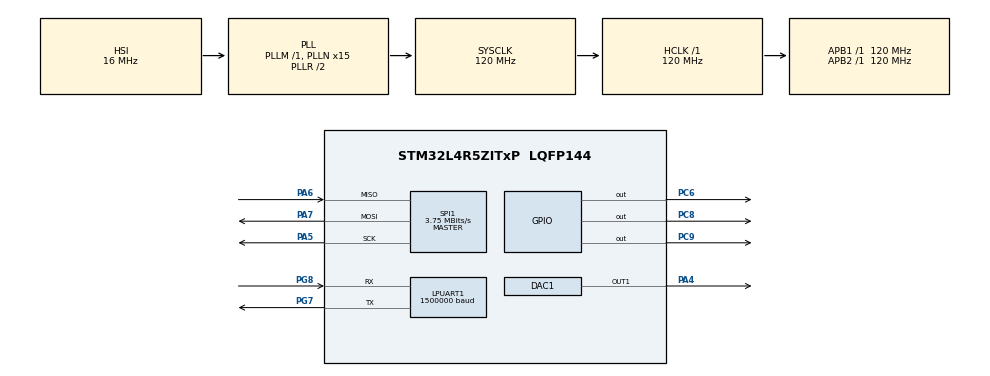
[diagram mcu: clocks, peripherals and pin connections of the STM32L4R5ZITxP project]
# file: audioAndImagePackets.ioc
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DAC1.DAC_Trigger-DAC_OUT1=DAC_TRIGGER_T2_TRGO
Dma.DAC1_CH1.0.Direction=DMA_MEMORY_TO_PERIPH
Dma.DAC1_CH1.0.EventEnable=DISABLE
Dma.DAC1_CH1.0.Instance=DMA1_Channel1
Dma.DAC1_CH1.0.MemDataAlignment=DMA_MDATAALIGN_HALFWORD
Dma.DAC1_CH1.0.MemInc=DMA_MINC_ENABLE
Dma.DAC1_CH1.0.Mode=DMA_CIRCULAR
Dma.DAC1_CH1.0.PeriphDataAlignment=DMA_PDATAALIGN_HALFWORD
Dma.DAC1_CH1.0.PeriphInc=DMA_PINC_DISABLE
Dma.DAC1_CH1.0.Polarity=HAL_DMAMUX_REQUEST_GEN_RISING
Dma.DAC1_CH1.0.Priority=DMA_PRIORITY_LOW
Dma.DAC1_CH1.0.RequestNumber=1
Dma.DAC1_CH1.0.SignalID=NONE
Dma.DAC1_CH1.0.SyncEnable=DISABLE
Dma.DAC1_CH1.0.SyncPolarity=HAL_DMAMUX_SYNC_NO_EVENT
Dma.DAC1_CH1.0.SyncRequestNumber=1
Dma.DAC1_CH1.0.SyncSignalID=NONE
Dma.LPUART1_RX.1.Direction=DMA_PERIPH_TO_MEMORY
Dma.LPUART1_RX.1.EventEnable=DISABLE
Dma.LPUART1_RX.1.Instance=DMA1_Channel2
Dma.LPUART1_RX.1.MemDataAlignment=DMA_MDATAALIGN_BYTE
Dma.LPUART1_RX.1.MemInc=DMA_MINC_ENABLE
Dma.LPUART1_RX.1.Mode=DMA_NORMAL
Dma.LPUART1_RX.1.PeriphDataAlignment=DMA_PDATAALIGN_BYTE
Dma.LPUART1_RX.1.PeriphInc=DMA_PINC_DISABLE
Dma.LPUART1_RX.1.Polarity=HAL_DMAMUX_REQUEST_GEN_RISING
Dma.LPUART1_RX.1.Priority=DMA_PRIORITY_LOW
Dma.LPUART1_RX.1.RequestNumber=1
Dma.LPUART1_RX.1.SignalID=NONE
Dma.LPUART1_RX.1.SyncEnable=DISABLE
Dma.LPUART1_RX.1.SyncPolarity=HAL_DMAMUX_SYNC_NO_EVENT
Dma.LPUART1_RX.1.SyncRequestNumber=1
Dma.LPUART1_RX.1.SyncSignalID=NONE
Dma.Request0=DAC1_CH1
Dma.Request1=LPUART1_RX
LPUART1.BaudRate=1500000
LPUART1.WordLength=UART_WORDLENGTH_8B
Mcu.Family=STM32L4
Mcu.Name=STM32L4R5ZITxP
Mcu.Package=LQFP144
NVIC.DMA1_Channel1_IRQn=true\:0\:0\:false\:false\:true\:false\:true\:true
NVIC.DMA1_Channel2_IRQn=true\:0\:0\:false\:false\:true\:false\:true\:true
NVIC.LPUART1_IRQn=true\:0\:0\:false\:false\:true\:true\:true\:true
NVIC.PriorityGroup=NVIC_PRIORITYGROUP_4
PA0.Signal=S_TIM2_CH1
PA1.Signal=ADCx_IN6
PA10.Signal=USB_OTG_FS_ID
PA13\ (JTMS/SWDIO).Signal=SYS_JTMS-SWDIO
PA14\ (JTCK/SWCLK).Signal=SYS_JTCK-SWCLK
PA3.Signal=ADCx_IN8
PA4.Signal=COMP_DAC11_group
PA5.Mode=Full_Duplex_Master
PA5.Signal=SPI1_SCK
PA6.Mode=Full_Duplex_Master
PA6.Signal=SPI1_MISO
PA7.Mode=Full_Duplex_Master
PA7.Signal=SPI1_MOSI
PA8.Signal=USB_OTG_FS_SOF
PA9.Signal=USB_OTG_FS_VBUS
PB0.Signal=S_TIM3_CH3
PB1.Signal=ADCx_IN16
PB10.Signal=S_TIM2_CH3
PB12.Signal=SAI2_FS_A
PB13.Signal=SAI2_SCK_A
PB14.Signal=S_TIM15_CH1
PB15.Signal=SAI2_SD_A
PB2.Signal=COMP1_INP
PB3\ (JTDO/TRACESWO).Signal=SPI3_SCK
PB4\ (NJTRST).Signal=SPI3_MISO
PB5.Signal=SPI3_MOSI
PB6.Signal=COMP2_INP
PB8.Signal=I2C1_SCL
PB9.Signal=I2C1_SDA
PC0.Signal=ADCx_IN1
PC1.Signal=ADCx_IN2
PC10.Signal=SDMMC1_D2
PC11.Signal=SDMMC1_D3
PC12.Signal=SDMMC1_CK
PC13.Signal=SYS_WKUP2
PC14-OSC32_IN\ (PC14).Signal=RCC_OSC32_IN
PC15-OSC32_OUT\ (PC15).Signal=RCC_OSC32_OUT
PC2.Signal=ADCx_IN3
PC3.Signal=ADCx_IN4
PC4.Signal=ADCx_IN13
PC5.Signal=ADCx_IN14
PC6.Signal=GPIO_Output
PC7.Signal=S_TIM3_CH2
PC8.Signal=GPIO_Output
PC9.Signal=GPIO_Output
PD0.Signal=CAN1_RX
PD14.Signal=S_TIM4_CH3
PD15.Signal=S_TIM4_CH4
PD2.Signal=SDMMC1_CMD
PD3.Signal=USART2_CTS
PD5.Signal=USART2_TX
PD6.Signal=USART2_RX
PD8.Signal=USART3_TX
PD9.Signal=USART3_RX
PE0.Signal=S_TIM4_ETR
PE10.Signal=TIM1_CH2N
PE11.Signal=S_TIM1_CH2
PE12.Signal=TIM1_CH3N
PE13.Signal=S_TIM1_CH3
PE14.Signal=TIM1_BKIN2
PE15.Signal=TIM1_BKIN
PE2.Signal=SAI1_MCLK_A
PE3.Signal=SAI1_SD_B
PE7.Signal=S_TIM1_ETR
PE8.Signal=TIM1_CH1N
PE9.Signal=S_TIM1_CH1
PF0.Signal=I2C2_SDA
PF1.Signal=I2C2_SCL
PF2.Signal=I2C2_SMBA
PF7.Signal=SAI1_MCLK_B
PG7.Mode=Asynchronous
PG7.Signal=LPUART1_TX
PG8.Mode=Asynchronous
PG8.Signal=LPUART1_RX
PH0-OSC_IN\ (PH0).Signal=RCC_OSC_IN
PH1-OSC_OUT\ (PH1).Signal=RCC_OSC_OUT
ProjectManager.HeapSize=0x200
ProjectManager.StackSize=0x400
ProjectManager.TargetToolchain=STM32CubeIDE
RCC.ADCFreq_Value=64000000
RCC.AHBFreq_Value=120000000
RCC.APB1Freq_Value=120000000
RCC.APB1TimFreq_Value=120000000
RCC.APB2Freq_Value=120000000
RCC.APB2TimFreq_Value=120000000
RCC.CortexFreq_Value=120000000
RCC.HCLKFreq_Value=120000000
RCC.HSE_VALUE=8000000
RCC.HSI48_VALUE=48000000
RCC.HSI_VALUE=16000000
RCC.LPUART1CLockSelection=RCC_LPUART1CLKSOURCE_HSI
RCC.LSE_VALUE=32768
RCC.MSI_VALUE=4000000
RCC.PLLN=15
RCC.PLLSourceVirtual=RCC_PLLSOURCE_HSI
RCC.SYSCLKFreq_VALUE=120000000
RCC.SYSCLKSource=RCC_SYSCLKSOURCE_PLLCLK
RCC.USBFreq_Value=64000000
RCC.VCOOutputFreq_Value=240000000
SH.ADCx_IN1.0=ADC1_IN1
SH.ADCx_IN13.0=ADC1_IN13
SH.ADCx_IN14.0=ADC1_IN14
SH.ADCx_IN16.0=ADC1_IN16
SH.ADCx_IN2.0=ADC1_IN2
SH.ADCx_IN3.0=ADC1_IN3
SH.ADCx_IN4.0=ADC1_IN4
SH.ADCx_IN6.0=ADC1_IN6
SH.ADCx_IN8.0=ADC1_IN8
SH.COMP_DAC11_group.0=DAC1_OUT1,DAC_OUT1
SH.S_TIM15_CH1.0=TIM15_CH1
SH.S_TIM1_CH1.0=TIM1_CH1
SH.S_TIM1_CH2.0=TIM1_CH2
SH.S_TIM1_CH3.0=TIM1_CH3
SH.S_TIM1_ETR.0=TIM1_ETR
SH.S_TIM2_CH1.0=TIM2_CH1
SH.S_TIM2_CH3.0=TIM2_CH3
SH.S_TIM3_CH2.0=TIM3_CH2
SH.S_TIM3_CH3.0=TIM3_CH3
SH.S_TIM4_CH3.0=TIM4_CH3
SH.S_TIM4_CH4.0=TIM4_CH4
SH.S_TIM4_ETR.0=TIM4_ETR
SPI1.BaudRatePrescaler=SPI_BAUDRATEPRESCALER_32
SPI1.CalculateBaudRate=3.75 MBits/s
SPI1.DataSize=SPI_DATASIZE_8BIT
SPI1.Direction=SPI_DIRECTION_2LINES
SPI1.Mode=SPI_MODE_MASTER
SPI1.VirtualType=VM_MASTER
TIM1.AutoReloadPreload=TIM_AUTORELOAD_PRELOAD_ENABLE
TIM1.Period=49
TIM1.Prescaler=119
TIM2.Period=3749
TIM2.TIM_MasterOutputTrigger=TIM_TRGO_UPDATE
VP_TIM1_VS_ClockSourceINT.Mode=Internal
VP_TIM2_VS_ClockSourceINT.Mode=Internal
board=NUCLEO-L4R5ZI-P

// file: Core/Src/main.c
/* USER CODE BEGIN Header */
/**
  ******************************************************************************
  * @file           : main.c
  * @brief          : Main program body
  ******************************************************************************
  * @attention
  *
  * Copyright (c) 2025 STMicroelectronics.
  * All rights reserved.
  *
  * This software is licensed under terms that can be found in the LICENSE file
  * in the root directory of this software component.
  * If no LICENSE file comes with this software, it is provided AS-IS.
  *
  ******************************************************************************
  */
/* USER CODE END Header */
#include "main.h"

/* USER CODE BEGIN Includes */
#include "packets.h"
#include "tft.h"
#include <string.h>

/* USER CODE END Includes */

DAC_HandleTypeDef hdac1;
DMA_HandleTypeDef hdma_dac1_ch1;

UART_HandleTypeDef hlpuart1;
DMA_HandleTypeDef hdma_lpuart1_rx;

SPI_HandleTypeDef hspi1;

TIM_HandleTypeDef htim1;
TIM_HandleTypeDef htim2;

/* USER CODE BEGIN PV */

		#define PKT_SYNC_SIZE    2   // 0xA5, 0x5A
		#define PKT_HEADER_SIZE  (sizeof(pkt_header_t))  // 7 bytes (packed)
		#define PKT_PREFIX_SIZE  (PKT_SYNC_SIZE + PKT_HEADER_SIZE) // 9 bytes before payload
		#define PKT_CRC_SIZE     2

		#define UART_ACK_HEADER  'H'
		#define UART_ACK_OK      'S'
		#define UART_ACK_ERR     'E'
		#define UART_ACK_NEXT_AUDIO_CHUNK 'A'

		// Packet size/overhead (must match Python script)
		#define PKT_OVERHEAD     (PKT_SYNC_SIZE + PKT_HEADER_SIZE + PKT_CRC_SIZE) // 11
		#define PKT_MAX_SIZE     0xFFFFu  // total packet: sync+header+payload+CRC

		#define IMG_PKT_MAX_SIZE     PKT_MAX_SIZE
		#define AUD_PKT_MAX_SIZE     PKT_MAX_SIZE

		#define IMG_MAX_PAYLOAD_BYTES  (IMG_PKT_MAX_SIZE - PKT_OVERHEAD)
		#define AUD_MAX_PAYLOAD_BYTES  (AUD_PKT_MAX_SIZE - PKT_OVERHEAD)

		// DAC circular buffer: 2 halves, each half holds one max audio payload worth of samples
		// 2 bytes per 16-bit PCM sample => samples = bytes/2
		#define DAC_HALF_SAMPLES   (AUD_MAX_PAYLOAD_BYTES / 2u)
		#define DAC_BUF_SAMPLES    (2u * DAC_HALF_SAMPLES)

		// UART RX context
	typedef enum {
		RX_STATE_WAIT_PREFIX,   // waiting for 2 sync + 7 header bytes
		RX_STATE_WAIT_PAYLOAD,  // waiting for payload (image or audio)
		RX_STATE_WAIT_CRC       // waiting for audio CRC (2 bytes)
	} uart_rx_state_t;

		typedef struct {
			uart_rx_state_t state;
			uint8_t  prefix_buf[PKT_PREFIX_SIZE];  // 9 bytes: sync + header
			pkt_header_t header;
			uint16_t payload_len;
			uint8_t *payload_dst;                  // destination buffer for payload+CRC
		} uart_rx_ctx_t;

		uart_rx_ctx_t g_uart_rx;

		// Buffers
		uint16_t dac_buf[DAC_BUF_SAMPLES];  // DAC circular buffer

		uint8_t image_pkt_buf[IMG_MAX_PAYLOAD_BYTES + PKT_CRC_SIZE];

		// Audio RX views onto dac_buf halves
		uint8_t *audio_pkt_buf0 = (uint8_t *)dac_buf;                      // first half
		uint8_t *audio_pkt_buf1 = (uint8_t *)&dac_buf[DAC_HALF_SAMPLES];   // second half

		// NEW: CRC storage for audio packets
		uint8_t audio_crc_buf[PKT_CRC_SIZE];

		// Flags
		volatile uint8_t  image_pkt_ready = 0;
		volatile uint16_t image_pkt_len   = 0;

		volatile uint8_t  audio_pkt_ready = 0;
		volatile uint8_t  audio_write_idx = 0;   // 0 or 1
		volatile uint16_t audio_pkt_len   = 0;

		// Which halves of dac_buf are free to write into
		volatile uint8_t half0_free = 1;  // dac_buf[0 .. DAC_HALF_SAMPLES-1]
		volatile uint8_t half1_free = 1;  // dac_buf[DAC_HALF_SAMPLES .. end]

		volatile uint8_t audio_stream_active = 0;

		// Stream state for DAC priming
		volatile uint8_t dac_running       = 0;  // 0 = DAC DMA stopped, 1 = running
		volatile uint8_t audio_prime_count = 0;  // how many good packets we've accepted this stream

		volatile uint16_t ctrl_pkt_len   = 0;
		volatile uint8_t ctrl_pkt_ready = 0;
		uint8_t ctrl_buf[16];

/* USER CODE END PV */

void SystemClock_Config(void);
static void MX_GPIO_Init(void);
static void MX_DMA_Init(void);
static void MX_SPI1_Init(void);
static void MX_TIM1_Init(void);
static void MX_LPUART1_UART_Init(void);
static void MX_DAC1_Init(void);
static void MX_TIM2_Init(void);
/* USER CODE BEGIN PFP */
static void uart_start_header_rx(void);
static void protocol_soft_reset(void);

/* USER CODE END PFP */

int main(void)
{

  /* MCU Configuration--------------------------------------------------------*/

  /* Reset of all peripherals, Initializes the Flash interface and the Systick. */
  HAL_Init();

  /* Configure the system clock */
  SystemClock_Config();

  /* Initialize all configured peripherals */
  MX_GPIO_Init();
  MX_DMA_Init();
  MX_SPI1_Init();
  MX_TIM1_Init();
  MX_LPUART1_UART_Init();
  MX_DAC1_Init();
  MX_TIM2_Init();
  /* USER CODE BEGIN 2 */
  tft_init();
  tft_fill_rect(0, 0, 480, 320, 0xAAAA);
  // HAL_GPIO_WritePin(GPIOC, GPIO_PIN_6, GPIO_PIN_SET); // LED ON

  uart_start_header_rx();

  /* Start TIM2 (48 kHz trigger) */
  HAL_TIM_Base_Start(&htim2);

  /* Init DAC circular buffer to mid-scale (silence) */
  for (uint32_t i = 0; i < DAC_BUF_SAMPLES; ++i) {
      dac_buf[i] = 2048; // mid-scale for 12-bit
  }

  /* Do NOT start DAC DMA here.
   * We'll start it after we've "primed" the buffer with at least
   * two good audio packets of a new stream.
   */
  dac_running       = 0;
  audio_prime_count = 0;
  audio_stream_active = 0;

  /* USER CODE END 2 */

  /* Infinite loop */
  /* USER CODE BEGIN WHILE */

  while (1)
  {

	  if (ctrl_pkt_ready) {
	          ctrl_pkt_ready = 0;
	          uint8_t cmd = ctrl_buf[0];

	          if (cmd == CTRL_CMD_AUDIO_STOP) {
	              __disable_irq();
	              audio_stream_active = 0;

	              // Drop any pending audio packet in-flight
	              audio_pkt_ready = 0;
	              audio_pkt_len   = 0;

	              // Release both halves so future streams start clean
	              half0_free = 1;
	              half1_free = 1;

	              // Reset priming state
	              audio_prime_count = 0;

	              __enable_irq();

	              // Stop DAC DMA if it was running
	              if (dac_running) {
	                  HAL_DAC_Stop_DMA(&hdac1, DAC_CHANNEL_1);
	                  dac_running = 0;
	              }

	              // Fill DAC buffer with silence
	              for (uint32_t i = 0; i < DAC_BUF_SAMPLES; ++i) {
	                  dac_buf[i] = 2048;
	              }

	              uint8_t ack = UART_ACK_OK; // 'S'
	              HAL_UART_Transmit(&hlpuart1, &ack, 1, 10);

	              // Re-arm header RX
	              uart_start_header_rx();
	          }

	          // Skip directly to next loop iteration so we don't process audio
	          // in the same pass after a STOP.
	          continue;
	      }

	  // 1) Handle image packets
	  if (image_pkt_ready) {
	      uint16_t payload_len;
	      uint8_t  hdr_bytes[CRC_HEADER_LEN];

	      __disable_irq();
	      payload_len      = image_pkt_len;   // bytes of image payload
	      image_pkt_ready  = 0;

	      // Snapshot the header fields for this packet into hdr_bytes[0..6]
	      hdr_bytes[0] = g_uart_rx.header.version;
	      hdr_bytes[1] = g_uart_rx.header.data_type;
	      hdr_bytes[2] = g_uart_rx.header.flags;
	      hdr_bytes[3] = (uint8_t)(g_uart_rx.header.seq >> 8);
	      hdr_bytes[4] = (uint8_t)(g_uart_rx.header.seq & 0xFF);
	      hdr_bytes[5] = (uint8_t)(g_uart_rx.header.len >> 8);
	      hdr_bytes[6] = (uint8_t)(g_uart_rx.header.len & 0xFF);
	      __enable_irq();

	      if (payload_len <= sizeof(image_pkt_buf)) {

	          uint16_t recv_crc =
	              ((uint16_t)image_pkt_buf[payload_len] << 8) |
	               (uint16_t)image_pkt_buf[payload_len + 1];

	          // Use the *snapshotted* header bytes, not prefix_buf
	          uint16_t calc_crc = crc16_ccitt(hdr_bytes, image_pkt_buf, payload_len);

	          if (calc_crc != recv_crc) {
	              uint8_t nack = UART_ACK_ERR;
	              HAL_UART_Transmit(&hlpuart1, &nack, 1, 10);
	          } else {
	              parse_and_apply_image_packet(image_pkt_buf, payload_len);

	              uint8_t ack = UART_ACK_OK;
	              HAL_UART_Transmit(&hlpuart1, &ack, 1, 10);
	          }
	      } else {
	          uint8_t nack = UART_ACK_ERR;
	          HAL_UART_Transmit(&hlpuart1, &nack, 1, 10);
	      }
	  }

		  // 2) Handle audio packets (fill halves of dac_buf, DAC runs continuously)
      // 2) Handle audio packets (convert in-place in dac_buf, DAC runs continuously)
	  if (audio_pkt_ready) {
	      uint8_t  idx;
	      uint16_t payload_len;
	      uint8_t  hdr_bytes[CRC_HEADER_LEN];
	      uint8_t  send_manual_A = 0;  // whether to send 'A' after ACK (priming)

	      __disable_irq();
	      idx             = audio_write_idx;   // 0 or 1
	      payload_len     = audio_pkt_len;     // bytes of audio payload
	      audio_pkt_ready = 0;

	      // Snapshot header into hdr_bytes
	      hdr_bytes[0] = g_uart_rx.header.version;
	      hdr_bytes[1] = g_uart_rx.header.data_type;
	      hdr_bytes[2] = g_uart_rx.header.flags;
	      hdr_bytes[3] = (uint8_t)(g_uart_rx.header.seq >> 8);
	      hdr_bytes[4] = (uint8_t)(g_uart_rx.header.seq & 0xFF);
	      hdr_bytes[5] = (uint8_t)(g_uart_rx.header.len >> 8);
	      hdr_bytes[6] = (uint8_t)(g_uart_rx.header.len & 0xFF);
	      __enable_irq();

	      // Sanity-check payload length vs max audio payload
	      if (payload_len > AUD_MAX_PAYLOAD_BYTES) {
	          // free the reserved half so we don't leak it
	          if (idx == 0) half0_free = 1;
	          else          half1_free = 1;

	          uint8_t nack = UART_ACK_ERR;
	          HAL_UART_Transmit(&hlpuart1, &nack, 1, 10);

	          // Now ready to receive the next header
	          uart_start_header_rx();
	          continue;
	      }

	      // CRC from separate buffer (big-endian: [hi][lo])
	      uint16_t recv_crc =
	          ((uint16_t)audio_crc_buf[0] << 8) |
	           (uint16_t)audio_crc_buf[1];

	      // Payload lives in selected half of dac_buf
	      uint8_t *payload_bytes = (uint8_t *)(
	          (idx == 0)
	          ? &dac_buf[0]
	          : &dac_buf[DAC_HALF_SAMPLES]
	      );

	      // Use snapshotted header, not prefix_buf
	      uint16_t calc_crc = crc16_ccitt(hdr_bytes,
	                                      payload_bytes,
	                                      payload_len);

	      if (calc_crc != recv_crc) {
	          // free the half so we can reuse it
	          if (idx == 0) half0_free = 1;
	          else          half1_free = 1;

	          uint8_t nack = UART_ACK_ERR;
	          HAL_UART_Transmit(&hlpuart1, &nack, 1, 10);

	          // Re-arm header RX
	          uart_start_header_rx();
	          continue;
	      }

	      // Good packet. Convert in-place in chosen half of dac_buf.
	      uint16_t num_samples = payload_len / 2;  // 2 bytes/sample
	      if (num_samples > DAC_HALF_SAMPLES) {
	          num_samples = DAC_HALF_SAMPLES;
	      }

	      int16_t  *src = (int16_t *)payload_bytes;  // signed PCM
	      uint16_t *dst = (uint16_t *)payload_bytes; // same locations for DAC

	      for (uint16_t i = 0; i < num_samples; ++i) {
	          int32_t s = src[i];      // -32768..32767
	          s += 32768;              // 0..65535
	          if (s < 0)      s = 0;
	          if (s > 65535)  s = 65535;
	          dst[i] = (uint16_t)(s >> 4);   // 12-bit right aligned
	      }

	      // Pad rest of half with mid-scale if packet smaller than half
	      for (uint16_t i = num_samples; i < DAC_HALF_SAMPLES; ++i) {
	          dst[i] = 2048;
	      }

	      // ---- Priming / DAC-start logic ----
	      // If DAC is not running yet, we are in "priming" mode.
	      if (!dac_running) {
	          audio_prime_count++;

	          if (audio_prime_count == 1) {
	              // First good packet of this stream:
	              // we want the PC to send the 2nd packet immediately,
	              // even though the DAC isn't running yet.
	              send_manual_A = 1;
	          }
	          else if (audio_prime_count == 2) {
	              // Second good packet: we now have two halves filled,
	              // so it's safe to start DAC DMA over the full buffer.
	              if (HAL_DAC_Start_DMA(&hdac1,
	                                    DAC_CHANNEL_1,
	                                    (uint32_t *)dac_buf,
	                                    DAC_BUF_SAMPLES,
	                                    DAC_ALIGN_12B_R) != HAL_OK) {
	                  Error_Handler();
	              }
	              dac_running         = 1;
	              audio_stream_active = 1;
	          }
	      } else {
	          // Already running: just keep stream_active unless this is LAST
	          if (!(hdr_bytes[2] & PKT_FLAG_LAST)) {
	              audio_stream_active = 1;
	          }
	      }

	      // If this packet is marked LAST, stop requesting future audio.
	      if (hdr_bytes[2] & PKT_FLAG_LAST) {
	          audio_stream_active = 0;
	      }

	      // Tell PC this packet was accepted and written into that half
	      uint8_t ack = UART_ACK_OK;
	      HAL_UART_Transmit(&hlpuart1, &ack, 1, 10);

	      // If we are in priming and just finished the first packet,
	      // trigger the PC to send the next chunk immediately.
	      if (send_manual_A) {
	          uint8_t req = UART_ACK_NEXT_AUDIO_CHUNK; // 'A'
	          HAL_UART_Transmit(&hlpuart1, &req, 1, 10);
	      }

	      // NOW re-arm UART to receive the next header
	      uart_start_header_rx();
	  }

    /* USER CODE END WHILE */

  }
}

void SystemClock_Config(void)
{
  RCC_OscInitTypeDef RCC_OscInitStruct = {0};
  RCC_ClkInitTypeDef RCC_ClkInitStruct = {0};

  /** Configure the main internal regulator output voltage
  */
  if (HAL_PWREx_ControlVoltageScaling(PWR_REGULATOR_VOLTAGE_SCALE1_BOOST) != HAL_OK)
  {
    Error_Handler();
  }

  /** Initializes the RCC Oscillators according to the specified parameters
  * in the RCC_OscInitTypeDef structure.
  */
  RCC_OscInitStruct.OscillatorType = RCC_OSCILLATORTYPE_HSI;
  RCC_OscInitStruct.HSIState = RCC_HSI_ON;
  RCC_OscInitStruct.HSICalibrationValue = RCC_HSICALIBRATION_DEFAULT;
  RCC_OscInitStruct.PLL.PLLState = RCC_PLL_ON;
  RCC_OscInitStruct.PLL.PLLSource = RCC_PLLSOURCE_HSI;
  RCC_OscInitStruct.PLL.PLLM = 1;
  RCC_OscInitStruct.PLL.PLLN = 15;
  RCC_OscInitStruct.PLL.PLLP = RCC_PLLP_DIV2;
  RCC_OscInitStruct.PLL.PLLQ = RCC_PLLQ_DIV2;
  RCC_OscInitStruct.PLL.PLLR = RCC_PLLR_DIV2;
  if (HAL_RCC_OscConfig(&RCC_OscInitStruct) != HAL_OK)
  {
    Error_Handler();
  }

  /** Initializes the CPU, AHB and APB buses clocks
  */
  RCC_ClkInitStruct.ClockType = RCC_CLOCKTYPE_HCLK|RCC_CLOCKTYPE_SYSCLK
                              |RCC_CLOCKTYPE_PCLK1|RCC_CLOCKTYPE_PCLK2;
  RCC_ClkInitStruct.SYSCLKSource = RCC_SYSCLKSOURCE_PLLCLK;
  RCC_ClkInitStruct.AHBCLKDivider = RCC_SYSCLK_DIV1;
  RCC_ClkInitStruct.APB1CLKDivider = RCC_HCLK_DIV1;
  RCC_ClkInitStruct.APB2CLKDivider = RCC_HCLK_DIV1;

  if (HAL_RCC_ClockConfig(&RCC_ClkInitStruct, FLASH_LATENCY_5) != HAL_OK)
  {
    Error_Handler();
  }
}

static void MX_DAC1_Init(void)
{

  DAC_ChannelConfTypeDef sConfig = {0};

  /** DAC Initialization
  */
  hdac1.Instance = DAC1;
  if (HAL_DAC_Init(&hdac1) != HAL_OK)
  {
    Error_Handler();
  }

  /** DAC channel OUT1 config
  */
  sConfig.DAC_SampleAndHold = DAC_SAMPLEANDHOLD_DISABLE;
  sConfig.DAC_Trigger = DAC_TRIGGER_T2_TRGO;
  sConfig.DAC_HighFrequency = DAC_HIGH_FREQUENCY_INTERFACE_MODE_ABOVE_80MHZ;
  sConfig.DAC_OutputBuffer = DAC_OUTPUTBUFFER_ENABLE;
  sConfig.DAC_ConnectOnChipPeripheral = DAC_CHIPCONNECT_DISABLE;
  sConfig.DAC_UserTrimming = DAC_TRIMMING_FACTORY;
  if (HAL_DAC_ConfigChannel(&hdac1, &sConfig, DAC_CHANNEL_1) != HAL_OK)
  {
    Error_Handler();
  }

}

static void MX_LPUART1_UART_Init(void)
{

  hlpuart1.Instance = LPUART1;
  hlpuart1.Init.BaudRate = 1500000;
  hlpuart1.Init.WordLength = UART_WORDLENGTH_8B;
  hlpuart1.Init.StopBits = UART_STOPBITS_1;
  hlpuart1.Init.Parity = UART_PARITY_NONE;
  hlpuart1.Init.Mode = UART_MODE_TX_RX;
  hlpuart1.Init.HwFlowCtl = UART_HWCONTROL_NONE;
  hlpuart1.Init.OneBitSampling = UART_ONE_BIT_SAMPLE_DISABLE;
  hlpuart1.Init.ClockPrescaler = UART_PRESCALER_DIV1;
  hlpuart1.AdvancedInit.AdvFeatureInit = UART_ADVFEATURE_NO_INIT;
  hlpuart1.FifoMode = UART_FIFOMODE_DISABLE;
  if (HAL_UART_Init(&hlpuart1) != HAL_OK)
  {
    Error_Handler();
  }
  if (HAL_UARTEx_SetTxFifoThreshold(&hlpuart1, UART_TXFIFO_THRESHOLD_1_8) != HAL_OK)
  {
    Error_Handler();
  }
  if (HAL_UARTEx_SetRxFifoThreshold(&hlpuart1, UART_RXFIFO_THRESHOLD_1_8) != HAL_OK)
  {
    Error_Handler();
  }
  if (HAL_UARTEx_DisableFifoMode(&hlpuart1) != HAL_OK)
  {
    Error_Handler();
  }

}

static void MX_SPI1_Init(void)
{

  /* SPI1 parameter configuration*/
  hspi1.Instance = SPI1;
  hspi1.Init.Mode = SPI_MODE_MASTER;
  hspi1.Init.Direction = SPI_DIRECTION_2LINES;
  hspi1.Init.DataSize = SPI_DATASIZE_8BIT;
  hspi1.Init.CLKPolarity = SPI_POLARITY_LOW;
  hspi1.Init.CLKPhase = SPI_PHASE_1EDGE;
  hspi1.Init.NSS = SPI_NSS_SOFT;
  hspi1.Init.BaudRatePrescaler = SPI_BAUDRATEPRESCALER_32;
  hspi1.Init.FirstBit = SPI_FIRSTBIT_MSB;
  hspi1.Init.TIMode = SPI_TIMODE_DISABLE;
  hspi1.Init.CRCCalculation = SPI_CRCCALCULATION_DISABLE;
  hspi1.Init.CRCPolynomial = 7;
  hspi1.Init.CRCLength = SPI_CRC_LENGTH_DATASIZE;
  hspi1.Init.NSSPMode = SPI_NSS_PULSE_ENABLE;
  if (HAL_SPI_Init(&hspi1) != HAL_OK)
  {
    Error_Handler();
  }

}

static void MX_TIM1_Init(void)
{

  TIM_ClockConfigTypeDef sClockSourceConfig = {0};
  TIM_MasterConfigTypeDef sMasterConfig = {0};

  htim1.Instance = TIM1;
  htim1.Init.Prescaler = 119;
  htim1.Init.CounterMode = TIM_COUNTERMODE_UP;
  htim1.Init.Period = 49;
  htim1.Init.ClockDivision = TIM_CLOCKDIVISION_DIV1;
  htim1.Init.RepetitionCounter = 0;
  htim1.Init.AutoReloadPreload = TIM_AUTORELOAD_PRELOAD_ENABLE;
  if (HAL_TIM_Base_Init(&htim1) != HAL_OK)
  {
    Error_Handler();
  }
  sClockSourceConfig.ClockSource = TIM_CLOCKSOURCE_INTERNAL;
  if (HAL_TIM_ConfigClockSource(&htim1, &sClockSourceConfig) != HAL_OK)
  {
    Error_Handler();
  }
  sMasterConfig.MasterOutputTrigger = TIM_TRGO_RESET;
  sMasterConfig.MasterOutputTrigger2 = TIM_TRGO2_RESET;
  sMasterConfig.MasterSlaveMode = TIM_MASTERSLAVEMODE_DISABLE;
  if (HAL_TIMEx_MasterConfigSynchronization(&htim1, &sMasterConfig) != HAL_OK)
  {
    Error_Handler();
  }

}

static void MX_TIM2_Init(void)
{

  TIM_ClockConfigTypeDef sClockSourceConfig = {0};
  TIM_MasterConfigTypeDef sMasterConfig = {0};

  htim2.Instance = TIM2;
  htim2.Init.Prescaler = 0;
  htim2.Init.CounterMode = TIM_COUNTERMODE_UP;
  htim2.Init.Period = 3749;
  htim2.Init.ClockDivision = TIM_CLOCKDIVISION_DIV1;
  htim2.Init.AutoReloadPreload = TIM_AUTORELOAD_PRELOAD_DISABLE;
  if (HAL_TIM_Base_Init(&htim2) != HAL_OK)
  {
    Error_Handler();
  }
  sClockSourceConfig.ClockSource = TIM_CLOCKSOURCE_INTERNAL;
  if (HAL_TIM_ConfigClockSource(&htim2, &sClockSourceConfig) != HAL_OK)
  {
    Error_Handler();
  }
  sMasterConfig.MasterOutputTrigger = TIM_TRGO_UPDATE;
  sMasterConfig.MasterSlaveMode = TIM_MASTERSLAVEMODE_DISABLE;
  if (HAL_TIMEx_MasterConfigSynchronization(&htim2, &sMasterConfig) != HAL_OK)
  {
    Error_Handler();
  }

}

static void MX_DMA_Init(void)
{

  /* DMA controller clock enable */
  __HAL_RCC_DMAMUX1_CLK_ENABLE();
  __HAL_RCC_DMA1_CLK_ENABLE();

  /* DMA interrupt init */
  /* DMA1_Channel1_IRQn interrupt configuration */
  HAL_NVIC_SetPriority(DMA1_Channel1_IRQn, 0, 0);
  HAL_NVIC_EnableIRQ(DMA1_Channel1_IRQn);
  /* DMA1_Channel2_IRQn interrupt configuration */
  HAL_NVIC_SetPriority(DMA1_Channel2_IRQn, 0, 0);
  HAL_NVIC_EnableIRQ(DMA1_Channel2_IRQn);

}

static void MX_GPIO_Init(void)
{
  GPIO_InitTypeDef GPIO_InitStruct = {0};

  /* GPIO Ports Clock Enable */
  __HAL_RCC_GPIOE_CLK_ENABLE();
  __HAL_RCC_GPIOC_CLK_ENABLE();
  __HAL_RCC_GPIOF_CLK_ENABLE();
  __HAL_RCC_GPIOH_CLK_ENABLE();
  __HAL_RCC_GPIOA_CLK_ENABLE();
  __HAL_RCC_GPIOB_CLK_ENABLE();
  __HAL_RCC_GPIOD_CLK_ENABLE();
  __HAL_RCC_GPIOG_CLK_ENABLE();
  HAL_PWREx_EnableVddIO2();

  /*Configure GPIO pin Output Level */
  HAL_GPIO_WritePin(GPIOC, GPIO_PIN_6|GPIO_PIN_8|GPIO_PIN_9, GPIO_PIN_RESET);

  /*Configure GPIO pins : PE2 PE3 */
  GPIO_InitStruct.Pin = GPIO_PIN_2|GPIO_PIN_3;
  GPIO_InitStruct.Mode = GPIO_MODE_AF_PP;
  GPIO_InitStruct.Pull = GPIO_NOPULL;
  GPIO_InitStruct.Speed = GPIO_SPEED_FREQ_LOW;
  GPIO_InitStruct.Alternate = GPIO_AF13_SAI1;
  HAL_GPIO_Init(GPIOE, &GPIO_InitStruct);

  /*Configure GPIO pins : PF0 PF1 PF2 */
  GPIO_InitStruct.Pin = GPIO_PIN_0|GPIO_PIN_1|GPIO_PIN_2;
  GPIO_InitStruct.Mode = GPIO_MODE_AF_OD;
  GPIO_InitStruct.Pull = GPIO_NOPULL;
  GPIO_InitStruct.Speed = GPIO_SPEED_FREQ_VERY_HIGH;
  GPIO_InitStruct.Alternate = GPIO_AF4_I2C2;
  HAL_GPIO_Init(GPIOF, &GPIO_InitStruct);

  /*Configure GPIO pin : PF7 */
  GPIO_InitStruct.Pin = GPIO_PIN_7;
  GPIO_InitStruct.Mode = GPIO_MODE_AF_PP;
  GPIO_InitStruct.Pull = GPIO_NOPULL;
  GPIO_InitStruct.Speed = GPIO_SPEED_FREQ_LOW;
  GPIO_InitStruct.Alternate = GPIO_AF13_SAI1;
  HAL_GPIO_Init(GPIOF, &GPIO_InitStruct);

  /*Configure GPIO pins : PC0 PC1 PC2 PC3
                           PC4 PC5 */
  GPIO_InitStruct.Pin = GPIO_PIN_0|GPIO_PIN_1|GPIO_PIN_2|GPIO_PIN_3
                          |GPIO_PIN_4|GPIO_PIN_5;
  GPIO_InitStruct.Mode = GPIO_MODE_ANALOG_ADC_CONTROL;
  GPIO_InitStruct.Pull = GPIO_NOPULL;
  HAL_GPIO_Init(GPIOC, &GPIO_InitStruct);

  /*Configure GPIO pins : PA1 PA3 */
  GPIO_InitStruct.Pin = GPIO_PIN_1|GPIO_PIN_3;
  GPIO_InitStruct.Mode = GPIO_MODE_ANALOG_ADC_CONTROL;
  GPIO_InitStruct.Pull = GPIO_NOPULL;
  HAL_GPIO_Init(GPIOA, &GPIO_InitStruct);

  /*Configure GPIO pin : PB0 */
  GPIO_InitStruct.Pin = GPIO_PIN_0;
  GPIO_InitStruct.Mode = GPIO_MODE_AF_PP;
  GPIO_InitStruct.Pull = GPIO_NOPULL;
  GPIO_InitStruct.Speed = GPIO_SPEED_FREQ_LOW;
  GPIO_InitStruct.Alternate = GPIO_AF2_TIM3;
  HAL_GPIO_Init(GPIOB, &GPIO_InitStruct);

  /*Configure GPIO pin : PB1 */
  GPIO_InitStruct.Pin = GPIO_PIN_1;
  GPIO_InitStruct.Mode = GPIO_MODE_ANALOG_ADC_CONTROL;
  GPIO_InitStruct.Pull = GPIO_NOPULL;
  HAL_GPIO_Init(GPIOB, &GPIO_InitStruct);

  /*Configure GPIO pins : PB2 PB6 */
  GPIO_InitStruct.Pin = GPIO_PIN_2|GPIO_PIN_6;
  GPIO_InitStruct.Mode = GPIO_MODE_ANALOG;
  GPIO_InitStruct.Pull = GPIO_NOPULL;
  HAL_GPIO_Init(GPIOB, &GPIO_InitStruct);

  /*Configure GPIO pins : PB12 PB13 PB15 */
  GPIO_InitStruct.Pin = GPIO_PIN_12|GPIO_PIN_13|GPIO_PIN_15;
  GPIO_InitStruct.Mode = GPIO_MODE_AF_PP;
  GPIO_InitStruct.Pull = GPIO_NOPULL;
  GPIO_InitStruct.Speed = GPIO_SPEED_FREQ_LOW;
  GPIO_InitStruct.Alternate = GPIO_AF13_SAI2;
  HAL_GPIO_Init(GPIOB, &GPIO_InitStruct);

  /*Configure GPIO pin : PB14 */
  GPIO_InitStruct.Pin = GPIO_PIN_14;
  GPIO_InitStruct.Mode = GPIO_MODE_AF_PP;
  GPIO_InitStruct.Pull = GPIO_NOPULL;
  GPIO_InitStruct.Speed = GPIO_SPEED_FREQ_LOW;
  GPIO_InitStruct.Alternate = GPIO_AF14_TIM15;
  HAL_GPIO_Init(GPIOB, &GPIO_InitStruct);

  /*Configure GPIO pins : PD8 PD9 */
  GPIO_InitStruct.Pin = GPIO_PIN_8|GPIO_PIN_9;
  GPIO_InitStruct.Mode = GPIO_MODE_AF_PP;
  GPIO_InitStruct.Pull = GPIO_NOPULL;
  GPIO_InitStruct.Speed = GPIO_SPEED_FREQ_VERY_HIGH;
  GPIO_InitStruct.Alternate = GPIO_AF7_USART3;
  HAL_GPIO_Init(GPIOD, &GPIO_InitStruct);

  /*Configure GPIO pins : PD14 PD15 */
  GPIO_InitStruct.Pin = GPIO_PIN_14|GPIO_PIN_15;
  GPIO_InitStruct.Mode = GPIO_MODE_AF_PP;
  GPIO_InitStruct.Pull = GPIO_NOPULL;
  GPIO_InitStruct.Speed = GPIO_SPEED_FREQ_LOW;
  GPIO_InitStruct.Alternate = GPIO_AF2_TIM4;
  HAL_GPIO_Init(GPIOD, &GPIO_InitStruct);

  /*Configure GPIO pins : PC6 PC8 PC9 */
  GPIO_InitStruct.Pin = GPIO_PIN_6|GPIO_PIN_8|GPIO_PIN_9;
  GPIO_InitStruct.Mode = GPIO_MODE_OUTPUT_PP;
  GPIO_InitStruct.Pull = GPIO_NOPULL;
  GPIO_InitStruct.Speed = GPIO_SPEED_FREQ_LOW;
  HAL_GPIO_Init(GPIOC, &GPIO_InitStruct);

  /*Configure GPIO pin : PC7 */
  GPIO_InitStruct.Pin = GPIO_PIN_7;
  GPIO_InitStruct.Mode = GPIO_MODE_AF_PP;
  GPIO_InitStruct.Pull = GPIO_NOPULL;
  GPIO_InitStruct.Speed = GPIO_SPEED_FREQ_LOW;
  GPIO_InitStruct.Alternate = GPIO_AF2_TIM3;
  HAL_GPIO_Init(GPIOC, &GPIO_InitStruct);

  /*Configure GPIO pins : PA8 PA10 */
  GPIO_InitStruct.Pin = GPIO_PIN_8|GPIO_PIN_10;
  GPIO_InitStruct.Mode = GPIO_MODE_AF_PP;
  GPIO_InitStruct.Pull = GPIO_NOPULL;
  GPIO_InitStruct.Speed = GPIO_SPEED_FREQ_VERY_HIGH;
  GPIO_InitStruct.Alternate = GPIO_AF10_OTG_FS;
  HAL_GPIO_Init(GPIOA, &GPIO_InitStruct);

  /*Configure GPIO pin : PA9 */
  GPIO_InitStruct.Pin = GPIO_PIN_9;
  GPIO_InitStruct.Mode = GPIO_MODE_INPUT;
  GPIO_InitStruct.Pull = GPIO_NOPULL;
  HAL_GPIO_Init(GPIOA, &GPIO_InitStruct);

  /*Configure GPIO pins : PC10 PC11 PC12 */
  GPIO_InitStruct.Pin = GPIO_PIN_10|GPIO_PIN_11|GPIO_PIN_12;
  GPIO_InitStruct.Mode = GPIO_MODE_AF_PP;
  GPIO_InitStruct.Pull = GPIO_NOPULL;
  GPIO_InitStruct.Speed = GPIO_SPEED_FREQ_VERY_HIGH;
  GPIO_InitStruct.Alternate = GPIO_AF12_SDMMC1;
  HAL_GPIO_Init(GPIOC, &GPIO_InitStruct);

  /*Configure GPIO pin : PD0 */
  GPIO_InitStruct.Pin = GPIO_PIN_0;
  GPIO_InitStruct.Mode = GPIO_MODE_AF_PP;
  GPIO_InitStruct.Pull = GPIO_NOPULL;
  GPIO_InitStruct.Speed = GPIO_SPEED_FREQ_VERY_HIGH;
  GPIO_InitStruct.Alternate = GPIO_AF9_CAN1;
  HAL_GPIO_Init(GPIOD, &GPIO_InitStruct);

  /*Configure GPIO pin : PD2 */
  GPIO_InitStruct.Pin = GPIO_PIN_2;
  GPIO_InitStruct.Mode = GPIO_MODE_AF_PP;
  GPIO_InitStruct.Pull = GPIO_NOPULL;
  GPIO_InitStruct.Speed = GPIO_SPEED_FREQ_VERY_HIGH;
  GPIO_InitStruct.Alternate = GPIO_AF12_SDMMC1;
  HAL_GPIO_Init(GPIOD, &GPIO_InitStruct);

  /*Configure GPIO pins : PD3 PD5 PD6 */
  GPIO_InitStruct.Pin = GPIO_PIN_3|GPIO_PIN_5|GPIO_PIN_6;
  GPIO_InitStruct.Mode = GPIO_MODE_AF_PP;
  GPIO_InitStruct.Pull = GPIO_NOPULL;
  GPIO_InitStruct.Speed = GPIO_SPEED_FREQ_VERY_HIGH;
  GPIO_InitStruct.Alternate = GPIO_AF7_USART2;
  HAL_GPIO_Init(GPIOD, &GPIO_InitStruct);

  /*Configure GPIO pins : PB3 PB4 PB5 */
  GPIO_InitStruct.Pin = GPIO_PIN_3|GPIO_PIN_4|GPIO_PIN_5;
  GPIO_InitStruct.Mode = GPIO_MODE_AF_PP;
  GPIO_InitStruct.Pull = GPIO_NOPULL;
  GPIO_InitStruct.Speed = GPIO_SPEED_FREQ_VERY_HIGH;
  GPIO_InitStruct.Alternate = GPIO_AF6_SPI3;
  HAL_GPIO_Init(GPIOB, &GPIO_InitStruct);

  /*Configure GPIO pins : PB8 PB9 */
  GPIO_InitStruct.Pin = GPIO_PIN_8|GPIO_PIN_9;
  GPIO_InitStruct.Mode = GPIO_MODE_AF_OD;
  GPIO_InitStruct.Pull = GPIO_NOPULL;
  GPIO_InitStruct.Speed = GPIO_SPEED_FREQ_VERY_HIGH;
  GPIO_InitStruct.Alternate = GPIO_AF4_I2C1;
  HAL_GPIO_Init(GPIOB, &GPIO_InitStruct);

  /*Configure GPIO pin : PE0 */
  GPIO_InitStruct.Pin = GPIO_PIN_0;
  GPIO_InitStruct.Mode = GPIO_MODE_AF_PP;
  GPIO_InitStruct.Pull = GPIO_NOPULL;
  GPIO_InitStruct.Speed = GPIO_SPEED_FREQ_LOW;
  GPIO_InitStruct.Alternate = GPIO_AF2_TIM4;
  HAL_GPIO_Init(GPIOE, &GPIO_InitStruct);

  /* USER CODE BEGIN MX_GPIO_Init_2 */

  /*Configure GPIO pins : PD8 PD9 (USART3 TX/RX) */
  GPIO_InitStruct.Pin = GPIO_PIN_8 | GPIO_PIN_9;
  GPIO_InitStruct.Mode = GPIO_MODE_AF_PP;
  GPIO_InitStruct.Pull = GPIO_NOPULL;
  GPIO_InitStruct.Speed = GPIO_SPEED_FREQ_VERY_HIGH;
  GPIO_InitStruct.Alternate = GPIO_AF7_USART3;
  HAL_GPIO_Init(GPIOD, &GPIO_InitStruct);

  /* USER CODE END MX_GPIO_Init_2 */
}

/* USER CODE BEGIN 4 */

	static void protocol_soft_reset(void)
	{
		__disable_irq();
		HAL_UART_AbortReceive(&hlpuart1);
		g_uart_rx.state       = RX_STATE_WAIT_PREFIX;
		g_uart_rx.payload_len = 0;
		g_uart_rx.payload_dst = NULL;

		image_pkt_ready = 0;
		image_pkt_len   = 0;
		audio_pkt_ready = 0;
		audio_pkt_len   = 0;

		half0_free = 1;
		half1_free = 1;
		audio_stream_active = 0;
		audio_prime_count   = 0;  // NEW: reset priming
		__enable_irq();

		uart_start_header_rx();
	}

	static void uart_start_header_rx(void)
	{
		g_uart_rx.state = RX_STATE_WAIT_PREFIX;
		HAL_UART_Receive_DMA(&hlpuart1,
							g_uart_rx.prefix_buf,
							PKT_PREFIX_SIZE);   // 9 bytes: sync + header

	}

	void HAL_UART_RxCpltCallback(UART_HandleTypeDef *huart)
	{
	    if (huart->Instance != LPUART1)
	        return;

	    if (g_uart_rx.state == RX_STATE_WAIT_PREFIX) {
	        // We just received sync + header (9 bytes)
	        uint8_t *buf = g_uart_rx.prefix_buf;

	        // 1) Check sync bytes
	        if (buf[0] != 0xA5 || buf[1] != 0x5A) {
	            uart_start_header_rx();
	            return;
	        }

	        // 2) Extract payload length
	        uint16_t payload_len = ((uint16_t)buf[7] << 8) | buf[8];

	        // 3) Parse header fields
	        g_uart_rx.header.version   = buf[2];
	        g_uart_rx.header.data_type = buf[3];
	        g_uart_rx.header.flags     = buf[4];
	        g_uart_rx.header.seq       = ((uint16_t)buf[5] << 8) | buf[6];
	        g_uart_rx.header.len       = payload_len;
	        g_uart_rx.payload_len      = payload_len;

	        // 4) Choose destination buffer based on packet type
	        switch (g_uart_rx.header.data_type) {
	        case PKT_DATA_IMAGE:
	            if (payload_len + PKT_CRC_SIZE > sizeof(image_pkt_buf)) {
	                uart_start_header_rx();
	                return;
	            }
	            g_uart_rx.payload_dst = image_pkt_buf;
	            break;

	        case PKT_DATA_AUDIO:
	            // Sanity-check payload length in BYTES (just payload, *not* CRC)
	            if (payload_len > AUD_MAX_PAYLOAD_BYTES) {
	                uart_start_header_rx();
	                return;
	            }

	            // Choose a free half of dac_buf as DMA destination for the *payload*
	            if (half0_free) {
	                g_uart_rx.payload_dst = audio_pkt_buf0; // first half of dac_buf
	                audio_write_idx = 0;
	                half0_free = 0;  // now reserved
	            } else if (half1_free) {
	                g_uart_rx.payload_dst = audio_pkt_buf1; // second half of dac_buf
	                audio_write_idx = 1;
	                half1_free = 0;  // now reserved
	            } else {
	                // No free half; can't accept this packet safely
	                uart_start_header_rx();
	                return;
	            }
	            break;

	        case PKT_DATA_CMD:
	            if (payload_len > sizeof(ctrl_buf)) {
	                uart_start_header_rx();
	                return;
	            }
	            g_uart_rx.payload_dst = ctrl_buf;
	            break;

	        default:
	            // Unknown type -> ignore this frame
	            uart_start_header_rx();
	            return;
	        }

	        // 5) Set state and start DMA for payload + CRC
	        g_uart_rx.state = RX_STATE_WAIT_PAYLOAD;

	        if (g_uart_rx.header.data_type == PKT_DATA_IMAGE) {
	            // Image: payload + CRC in one shot
	            HAL_UART_Receive_DMA(&hlpuart1,
	                                 g_uart_rx.payload_dst,
	                                 payload_len + PKT_CRC_SIZE);
	        }
	        else if (g_uart_rx.header.data_type == PKT_DATA_AUDIO) {
	            // Audio: ONLY the payload goes into dac_buf; CRC comes next in a tiny transfer
	            HAL_UART_Receive_DMA(&hlpuart1,
	                                 g_uart_rx.payload_dst,
	                                 payload_len);
	        }
	        else if (g_uart_rx.header.data_type == PKT_DATA_CMD) {
	            // Control: simplest is payload+CRC in one shot like image
	            HAL_UART_Receive_DMA(&hlpuart1,
	                                 g_uart_rx.payload_dst,
	                                 payload_len + PKT_CRC_SIZE);
	        }

	        // 6) Tell PC "header OK, I'm ready for payload"
	        uint8_t ack_hdr = UART_ACK_HEADER;  // 'H'
	        HAL_UART_Transmit(&hlpuart1, &ack_hdr, 1, 10);
	    }
	    else if (g_uart_rx.state == RX_STATE_WAIT_PAYLOAD) {
	        if (g_uart_rx.header.data_type == PKT_DATA_IMAGE) {
	            // IMAGE: we already DMA'd payload+CRC into image_pkt_buf
	            image_pkt_len   = g_uart_rx.payload_len;  // payload length (no CRC)
	            image_pkt_ready = 1;

	            // Back to waiting for next header
	            uart_start_header_rx();
	        }
	        else if (g_uart_rx.header.data_type == PKT_DATA_AUDIO) {
	            // AUDIO: we have JUST the payload in dac_buf now.
	            // Next, we need to grab the 2 CRC bytes.

	            g_uart_rx.state = RX_STATE_WAIT_CRC;

	            // Start a tiny 2-byte DMA into audio_crc_buf
	            HAL_UART_Receive_DMA(&hlpuart1,
	                                 audio_crc_buf,
	                                 PKT_CRC_SIZE);
	            // Do NOT call uart_start_header_rx() yet; we still need CRC.
	        }
	        else if (g_uart_rx.header.data_type == PKT_DATA_CMD) {
	            // CTRL: payload + CRC already in ctrl_buf
	            ctrl_pkt_len   = g_uart_rx.payload_len;  // payload length (no CRC)
	            ctrl_pkt_ready = 1;

	            // Go back to waiting for next header
	            uart_start_header_rx();
	        }

	    }
	    else if (g_uart_rx.state == RX_STATE_WAIT_CRC) {
	        // We just finished receiving the 2 CRC bytes for an audio packet
	        if (g_uart_rx.header.data_type == PKT_DATA_AUDIO) {
	            audio_pkt_len   = g_uart_rx.payload_len;  // just payload length
	            audio_pkt_ready = 1;
	        }

	        // Do NOT start the next header RX here.
	        // Just mark that we're logically back in WAIT_PREFIX;
	        // the main loop will call uart_start_header_rx() once it
	        // has validated this packet and sent 'S' or 'E'.
	        g_uart_rx.state = RX_STATE_WAIT_PREFIX;
	    }

	}

	void HAL_DAC_ConvHalfCpltCallbackCh1(DAC_HandleTypeDef *hdac)
	{
	    if (hdac->Instance != DAC1) return;

	    half0_free = 1;

	    if (audio_stream_active) {
	        uint8_t req = UART_ACK_NEXT_AUDIO_CHUNK; // 'A'
	        HAL_UART_Transmit(&hlpuart1, &req, 1, 10);
	    }
	}

	void HAL_DAC_ConvCpltCallbackCh1(DAC_HandleTypeDef *hdac)
	{
	    if (hdac->Instance != DAC1) return;

	    half1_free = 1;

	    if (audio_stream_active) {
	        uint8_t req = UART_ACK_NEXT_AUDIO_CHUNK; // 'A'
	        HAL_UART_Transmit(&hlpuart1, &req, 1, 10);
	    }
	}

	void HAL_UART_ErrorCallback(UART_HandleTypeDef *huart)
	{
	    if (huart->Instance == LPUART1) {
	        // Log something if you have a debug LED/UART
	        protocol_soft_reset();
	    }
	}

/* USER CODE END 4 */

void Error_Handler(void)
{
  __disable_irq();
  while (1)
  {
  }
}
